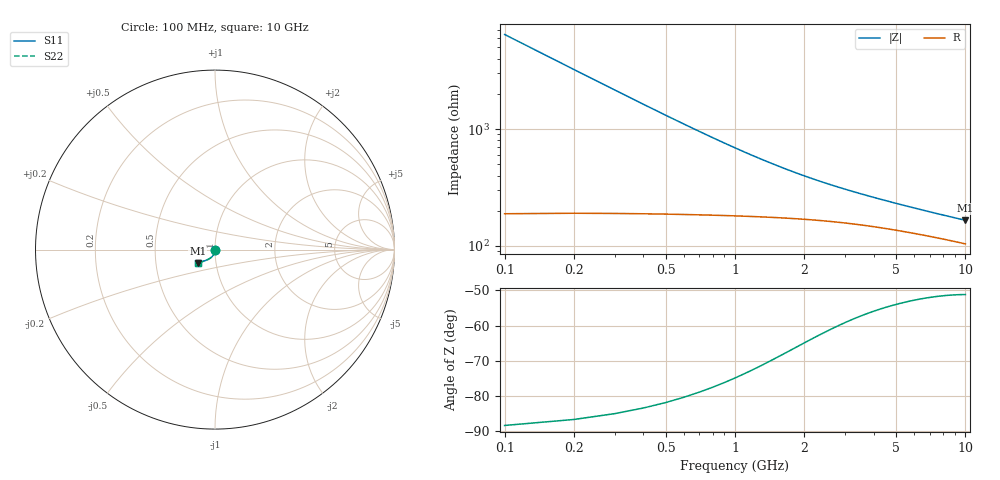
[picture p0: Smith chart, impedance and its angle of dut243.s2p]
! Touchstone file exported from HFSS 2024.1.0
!  File:  C:/UserFiles/LocalFiles/RDL_TSV_Batchsim/temp_TSV1_243_1778768339.aedt
!  Generated:  10:23:49 PM May 14, 2026
!  Design:  TSV1
!  Project:  temp_TSV1_243_1778768339
!  Setup:  Setup1
!  Solution:  Sweep
! Variables:
!  dtsv = 21.43um
!  hbump = 3um
!  htsv = 95.55um
!  lrdl = 252.1521522um
!  p = 40
!  p1 = 51.14um
!  t = 500um
!  trdl = 3um
!  wrdl = 24.89489489um
# GHz S MA R 50.000000
! Terminal data exported
! Port[1] = TSV22_T1
! Port[2] = TSV22_T2
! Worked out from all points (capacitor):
!   100 points, 100 MHz to 10 GHz, reference 50 ohm
!   read as one part in shunt: C = 246 fF near 100 MHz
!   lowest |Z| = 166 ohm at 10 GHz (marker M1)
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0.1  0.003562 -90.6  0.9998 -0.2  0.9998 -0.2  0.003562 -90.6
! Gamma 0 0 0 0
! Port Impedance 50 0 50 0
0.2  0.007111 -93.3  0.9994 -0.5  0.9994 -0.5  0.007111 -93.3
0.3  0.01063 -95.4  0.9988 -0.7  0.9988 -0.7  0.01063 -95.4
0.4  0.01411 -97.4  0.998 -0.9  0.998 -0.9  0.01411 -97.4
0.5  0.01753 -99.3  0.9969 -1.2  0.9969 -1.2  0.01753 -99.3
0.6  0.02086 -101.1  0.9957 -1.4  0.9957 -1.4  0.02086 -101.1
0.7  0.02412 -102.9  0.9944 -1.6  0.9944 -1.6  0.02412 -102.9
0.8  0.02727 -104.6  0.9929 -1.8  0.9929 -1.8  0.02727 -104.6
0.9  0.03032 -106.2  0.9914 -2.0  0.9914 -2.0  0.03032 -106.2
1.1  0.03608 -109.3  0.988 -2.3  0.988 -2.3  0.03608 -109.3
1.4  0.04389 -113.5  0.9827 -2.8  0.9827 -2.8  0.04389 -113.5
1.6  0.04855 -115.9  0.9792 -3.0  0.9792 -3.0  0.04855 -115.9
1.8  0.05282 -118.2  0.9756 -3.3  0.9756 -3.3  0.05282 -118.2
2.1  0.05855 -121.1  0.9706 -3.6  0.9706 -3.6  0.05855 -121.1
2.5  0.06516 -124.3  0.9643 -3.9  0.9643 -3.9  0.06516 -124.3
2.9  0.07084 -127.0  0.9587 -4.2  0.9587 -4.2  0.07084 -127.0
3.4  0.07698 -129.6  0.9525 -4.5  0.9525 -4.5  0.07698 -129.6
4.2  0.08526 -132.8  0.9441 -5.0  0.9441 -5.0  0.08526 -132.8
5.1  0.09303 -135.3  0.9362 -5.5  0.9362 -5.5  0.09303 -135.3
6.7  0.1042 -138.5  0.925 -6.2  0.925 -6.2  0.1042 -138.5
8.4  0.1137 -140.7  0.9158 -6.9  0.9158 -6.9  0.1137 -140.7
10  0.1211 -142.2  0.9089 -7.6  0.9089 -7.6  0.1211 -142.2
